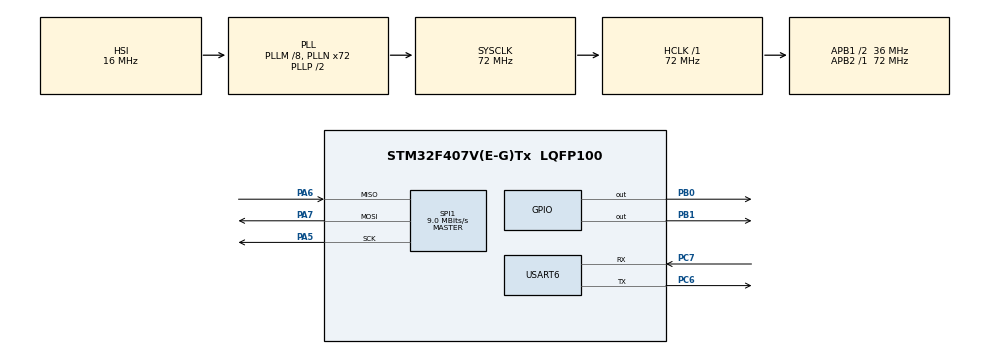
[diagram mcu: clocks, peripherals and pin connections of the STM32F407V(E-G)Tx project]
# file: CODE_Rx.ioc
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Mcu.Family=STM32F4
Mcu.Name=STM32F407V(E-G)Tx
Mcu.Package=LQFP100
NVIC.PriorityGroup=NVIC_PRIORITYGROUP_4
NVIC.USART6_IRQn=true\:0\:0\:false\:false\:true\:true\:true\:true
PA13.Mode=Serial_Wire
PA13.Signal=SYS_JTMS-SWDIO
PA14.Mode=Serial_Wire
PA14.Signal=SYS_JTCK-SWCLK
PA5.Mode=Full_Duplex_Master
PA5.Signal=SPI1_SCK
PA6.Mode=Full_Duplex_Master
PA6.Signal=SPI1_MISO
PA7.Mode=Full_Duplex_Master
PA7.Signal=SPI1_MOSI
PB0.Signal=GPIO_Output
PB1.Signal=GPIO_Output
PC6.Mode=Asynchronous
PC6.Signal=USART6_TX
PC7.Mode=Asynchronous
PC7.Signal=USART6_RX
PH0-OSC_IN.Mode=HSE-External-Oscillator
PH0-OSC_IN.Signal=RCC_OSC_IN
PH1-OSC_OUT.Mode=HSE-External-Oscillator
PH1-OSC_OUT.Signal=RCC_OSC_OUT
ProjectManager.HeapSize=0x200
ProjectManager.StackSize=0x400
ProjectManager.TargetToolchain=STM32CubeIDE
RCC.48MHZClocksFreq_Value=36000000
RCC.AHBFreq_Value=72000000
RCC.APB1CLKDivider=RCC_HCLK_DIV2
RCC.APB1Freq_Value=36000000
RCC.APB1TimFreq_Value=72000000
RCC.APB2Freq_Value=72000000
RCC.APB2TimFreq_Value=72000000
RCC.CortexFreq_Value=72000000
RCC.HCLKFreq_Value=72000000
RCC.HSE_VALUE=25000000
RCC.HSI_VALUE=16000000
RCC.LSE_VALUE=32768
RCC.PLLM=8
RCC.PLLN=72
RCC.SYSCLKFreq_VALUE=72000000
RCC.SYSCLKSource=RCC_SYSCLKSOURCE_PLLCLK
RCC.VCOOutputFreq_Value=144000000
SPI1.BaudRatePrescaler=SPI_BAUDRATEPRESCALER_8
SPI1.CalculateBaudRate=9.0 MBits/s
SPI1.Direction=SPI_DIRECTION_2LINES
SPI1.Mode=SPI_MODE_MASTER
SPI1.VirtualType=VM_MASTER
USART6.VirtualMode=VM_ASYNC
board=custom

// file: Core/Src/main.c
/* USER CODE BEGIN Header */
/**
 ******************************************************************************
 * @file           : main.c
 * @brief          : Main program body
 ******************************************************************************
 * @attention
 *
 * Copyright (c) 2023 STMicroelectronics.
 * All rights reserved.
 *
 * This software is licensed under terms that can be found in the LICENSE file
 * in the root directory of this software component.
 * If no LICENSE file comes with this software, it is provided AS-IS.
 *
 ******************************************************************************
 */
/* USER CODE END Header */
#include "main.h"

/* USER CODE BEGIN Includes */
#include "MY_NRF24.h"
#include <stdio.h>
/* USER CODE END Includes */

/* USER CODE BEGIN PTD */
// Khai báo cấu trúc dữ liệu
typedef struct {
  float enable;
  float x;
  float y;
  float z;
} Data_t;

/* USER CODE END PTD */

/* USER CODE BEGIN PD */
#define nrf_CSN_PORT		GPIOB
#define nrf_CSN_PIN			GPIO_PIN_0

#define nrf_CE_PORT			GPIOB
#define nrf_CE_PIN			GPIO_PIN_1
/* USER CODE END PD */

SPI_HandleTypeDef hspi1;

UART_HandleTypeDef huart6;

/* USER CODE BEGIN PV */
uint64_t TxpipeAddrs = 0x1122334455;
uint64_t RxpipeAddrs = 0xAABBCCDDEE;
char TxData[32] = "Hello World!";
char RxData[32] = "";
char UART6_rxBuffer[32] = "";
uint8_t enable = 0;
// Khởi tạo biến data
Data_t data = {
	.enable = 0,
	.x	= 0.12314,
	.y	= 121.0112,
	.z	= 0.21312,
};
/* USER CODE END PV */

void SystemClock_Config(void);
static void MX_GPIO_Init(void);
static void MX_SPI1_Init(void);
static void MX_USART6_UART_Init(void);

int main(void)
{

  /* MCU Configuration--------------------------------------------------------*/

  /* Reset of all peripherals, Initializes the Flash interface and the Systick. */
  HAL_Init();

  /* Configure the system clock */
  SystemClock_Config();

  /* Initialize all configured peripherals */
  MX_GPIO_Init();
  MX_SPI1_Init();
  MX_USART6_UART_Init();
  /* USER CODE BEGIN 2 */

	NRF24_begin(GPIOB, nrf_CSN_PIN, nrf_CE_PIN, hspi1);
	nrf24_DebugUART_Init(huart6);

	NRF24_setAutoAck(true);
	NRF24_openReadingPipe(1, RxpipeAddrs);

	NRF24_enableDynamicPayloads();
	NRF24_enableAckPayload();

	NRF24_startListening();
	HAL_UART_Receive_IT(&huart6,(uint8_t *)&data,sizeof(data));
	HAL_UART_Transmit(&huart6, (uint8_t*) "Receive: ", strlen("Receive: "), 10);
  /* USER CODE END 2 */

  /* Infinite loop */
  /* USER CODE BEGIN WHILE */
	while (1) {
		//Receive
		if (NRF24_available()) {
			NRF24_read(RxData, 32);
			//Send
			sprintf(TxData, "%d", enable);
			NRF24_writeAckPayload(1, TxData, 32);

//			HAL_UART_Transmit(&huart6, (uint8_t*) "Receive: ", strlen("Receive: "), 10);
			HAL_UART_Transmit(&huart6, (uint8_t*) RxData, strlen(RxData), 10);
//
//			HAL_UART_Transmit(&huart6, (uint8_t*) "		", strlen("		"),10);
//
//			HAL_UART_Transmit(&huart6, (uint8_t*) "Send: ", strlen("Send: "),10);
//			HAL_UART_Transmit(&huart6, (uint8_t*) TxData, strlen(TxData),10);
//
//			HAL_UART_Transmit(&huart6, (uint8_t*) "\r\n", strlen("\r\n"),10);
		}
    /* USER CODE END WHILE */

	}
}

void SystemClock_Config(void)
{
  RCC_OscInitTypeDef RCC_OscInitStruct = {0};
  RCC_ClkInitTypeDef RCC_ClkInitStruct = {0};

  /** Configure the main internal regulator output voltage
  */
  __HAL_RCC_PWR_CLK_ENABLE();
  __HAL_PWR_VOLTAGESCALING_CONFIG(PWR_REGULATOR_VOLTAGE_SCALE1);

  /** Initializes the RCC Oscillators according to the specified parameters
  * in the RCC_OscInitTypeDef structure.
  */
  RCC_OscInitStruct.OscillatorType = RCC_OSCILLATORTYPE_HSI;
  RCC_OscInitStruct.HSIState = RCC_HSI_ON;
  RCC_OscInitStruct.HSICalibrationValue = RCC_HSICALIBRATION_DEFAULT;
  RCC_OscInitStruct.PLL.PLLState = RCC_PLL_ON;
  RCC_OscInitStruct.PLL.PLLSource = RCC_PLLSOURCE_HSI;
  RCC_OscInitStruct.PLL.PLLM = 8;
  RCC_OscInitStruct.PLL.PLLN = 72;
  RCC_OscInitStruct.PLL.PLLP = RCC_PLLP_DIV2;
  RCC_OscInitStruct.PLL.PLLQ = 4;
  if (HAL_RCC_OscConfig(&RCC_OscInitStruct) != HAL_OK)
  {
    Error_Handler();
  }

  /** Initializes the CPU, AHB and APB buses clocks
  */
  RCC_ClkInitStruct.ClockType = RCC_CLOCKTYPE_HCLK|RCC_CLOCKTYPE_SYSCLK
                              |RCC_CLOCKTYPE_PCLK1|RCC_CLOCKTYPE_PCLK2;
  RCC_ClkInitStruct.SYSCLKSource = RCC_SYSCLKSOURCE_PLLCLK;
  RCC_ClkInitStruct.AHBCLKDivider = RCC_SYSCLK_DIV1;
  RCC_ClkInitStruct.APB1CLKDivider = RCC_HCLK_DIV2;
  RCC_ClkInitStruct.APB2CLKDivider = RCC_HCLK_DIV1;

  if (HAL_RCC_ClockConfig(&RCC_ClkInitStruct, FLASH_LATENCY_2) != HAL_OK)
  {
    Error_Handler();
  }
}

static void MX_SPI1_Init(void)
{

  /* SPI1 parameter configuration*/
  hspi1.Instance = SPI1;
  hspi1.Init.Mode = SPI_MODE_MASTER;
  hspi1.Init.Direction = SPI_DIRECTION_2LINES;
  hspi1.Init.DataSize = SPI_DATASIZE_8BIT;
  hspi1.Init.CLKPolarity = SPI_POLARITY_LOW;
  hspi1.Init.CLKPhase = SPI_PHASE_1EDGE;
  hspi1.Init.NSS = SPI_NSS_SOFT;
  hspi1.Init.BaudRatePrescaler = SPI_BAUDRATEPRESCALER_8;
  hspi1.Init.FirstBit = SPI_FIRSTBIT_MSB;
  hspi1.Init.TIMode = SPI_TIMODE_DISABLE;
  hspi1.Init.CRCCalculation = SPI_CRCCALCULATION_DISABLE;
  hspi1.Init.CRCPolynomial = 10;
  if (HAL_SPI_Init(&hspi1) != HAL_OK)
  {
    Error_Handler();
  }

}

static void MX_USART6_UART_Init(void)
{

  huart6.Instance = USART6;
  huart6.Init.BaudRate = 115200;
  huart6.Init.WordLength = UART_WORDLENGTH_8B;
  huart6.Init.StopBits = UART_STOPBITS_1;
  huart6.Init.Parity = UART_PARITY_NONE;
  huart6.Init.Mode = UART_MODE_TX_RX;
  huart6.Init.HwFlowCtl = UART_HWCONTROL_NONE;
  huart6.Init.OverSampling = UART_OVERSAMPLING_16;
  if (HAL_UART_Init(&huart6) != HAL_OK)
  {
    Error_Handler();
  }

}

static void MX_GPIO_Init(void)
{
  GPIO_InitTypeDef GPIO_InitStruct = {0};

  /* GPIO Ports Clock Enable */
  __HAL_RCC_GPIOH_CLK_ENABLE();
  __HAL_RCC_GPIOA_CLK_ENABLE();
  __HAL_RCC_GPIOB_CLK_ENABLE();
  __HAL_RCC_GPIOC_CLK_ENABLE();

  /*Configure GPIO pin Output Level */
  HAL_GPIO_WritePin(GPIOB, GPIO_PIN_0|GPIO_PIN_1, GPIO_PIN_RESET);

  /*Configure GPIO pins : PB0 PB1 */
  GPIO_InitStruct.Pin = GPIO_PIN_0|GPIO_PIN_1;
  GPIO_InitStruct.Mode = GPIO_MODE_OUTPUT_PP;
  GPIO_InitStruct.Pull = GPIO_NOPULL;
  GPIO_InitStruct.Speed = GPIO_SPEED_FREQ_LOW;
  HAL_GPIO_Init(GPIOB, &GPIO_InitStruct);

}

/* USER CODE BEGIN 4 */
void HAL_UART_RxCpltCallback(UART_HandleTypeDef *huart)
{
 if(huart->Instance == huart6.Instance)
 {
    HAL_UART_Receive_IT(&huart6,(uint8_t *)&data,sizeof(data));
 }
}
void tackchuoi(uint8_t* str)
{
char *token; // Con trỏ để lưu từng token
float arr[4]; // Mảng để lưu 4 số float
int i = 0; // Biến đếm

    // Sử dụng hàm strtok để tách chuỗi theo dấu ;
    token = strtok(str, ";");
    while (token != NULL)
    {
        // Chuyển token từ chuỗi sang số float và lưu vào mảng
        arr[i] = atof(token);
        i++;
        // Tiếp tục tách chuỗi
        token = strtok(NULL, ";");
    }
}

/* USER CODE END 4 */

void Error_Handler(void)
{
	__disable_irq();
	while (1) {
	}
}
